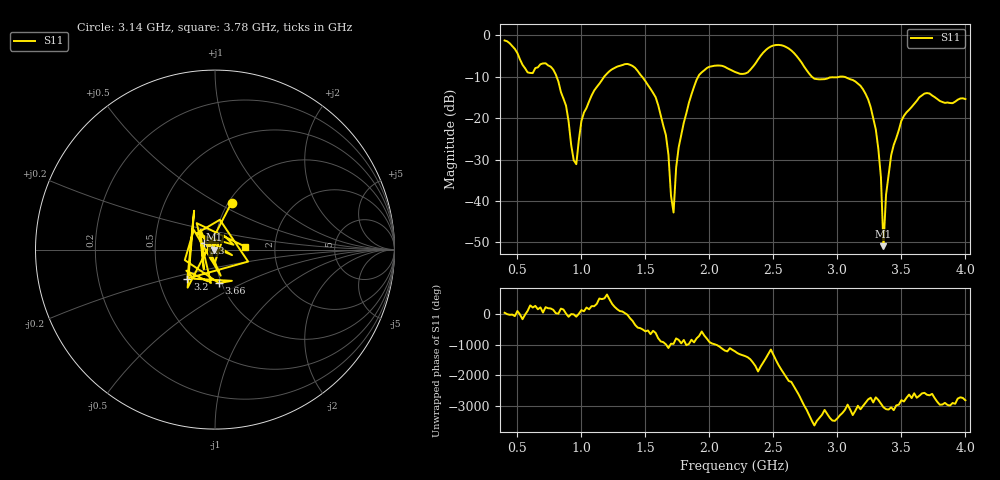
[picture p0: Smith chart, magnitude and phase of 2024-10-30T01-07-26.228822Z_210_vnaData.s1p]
!Created with skrf (http://scikit-rf.org).
# Hz S RI R 50.0
!freq ReS11 ImS11
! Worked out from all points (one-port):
!   181 points, 400 MHz to 4 GHz, reference 50 ohm
!   lowest |S11| = -50.9 dB at 3.36 GHz (marker M1), VSWR 1.01, Z = 49.7 - j0.0214 ohm
!   |S11| at or under -10 dB: 806.2 MHz to 1.178 GHz (371.9 MHz wide, 37.5 % of centre); 1.474 GHz to 1.913 GHz (439 MHz wide, 25.9 % of centre); 3.047 GHz to end of sweep (the widest 3 of 4)
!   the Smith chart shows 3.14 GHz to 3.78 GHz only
!   S11 on the Smith chart (normalised r, x): 3.14 GHz: 1.03, +0.59; 3.2 GHz: 0.70, -0.24; 3.3 GHz: 0.88, +0.06; 3.66 GHz: 0.97, -0.38; 3.78 GHz: 1.41, +0.05
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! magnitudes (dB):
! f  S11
! 400 MHz  -1.3
! 580 MHz  -9.0
! 760 MHz  -7.6
! 860 MHz  -15.3
! 960 MHz  -31.1
! 1.02 GHz  -18.6
! 1.3 GHz  -7.4
! 1.58 GHz  -15.0
! 1.66 GHz  -24.1
! 1.72 GHz  -42.8
! 1.76 GHz  -27.1
! 1.92 GHz  -9.6
! 2.2 GHz  -8.9
! 2.5 GHz  -2.5
! 2.66 GHz  -4.3
! 2.82 GHz  -10.5
! 3.1 GHz  -10.6
! 3.14 GHz  -11.2
! 3.2 GHz  -13.0
! 3.3 GHz  -22.7
! 3.34 GHz  -34.2
! 3.36 GHz  -50.9
! 3.38 GHz  -38.5
! 3.42 GHz  -29.0
! 3.56 GHz  -18.0
! 3.66 GHz  -14.5
! 3.78 GHz  -15.4
! 4 GHz  -15.4
